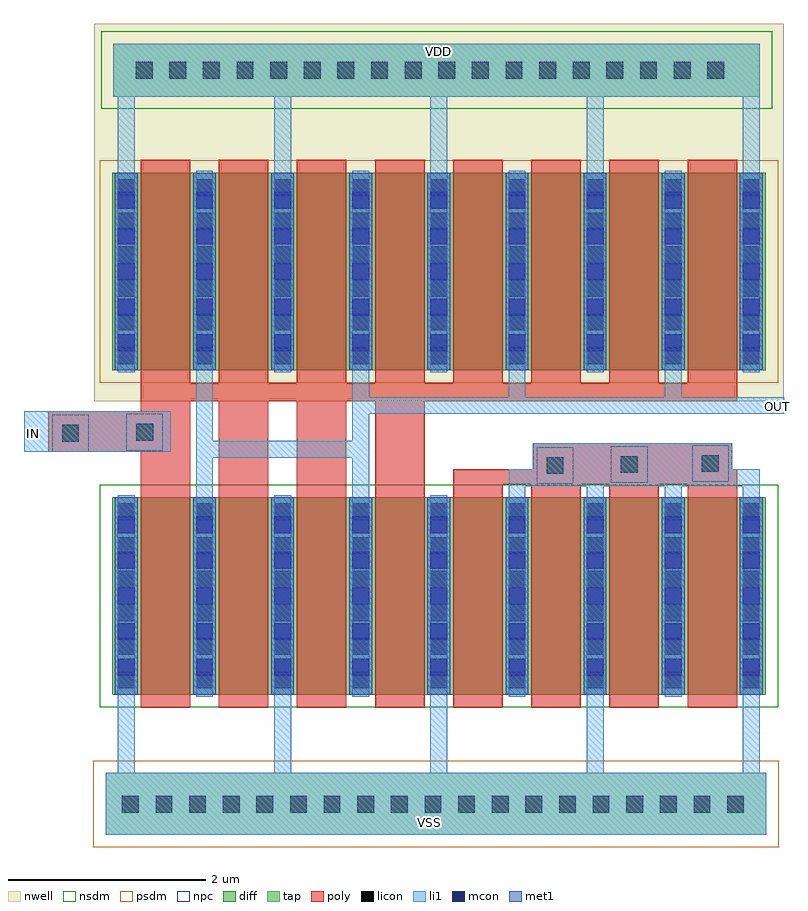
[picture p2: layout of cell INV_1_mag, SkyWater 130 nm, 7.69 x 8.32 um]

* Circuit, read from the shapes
.subckt INV_1_mag IN OUT VDD VSS
XM1 OUT IN VSS VSS sky130_fd_pr__nfet_01v8 w=2 l=0.5 m=4
XM2 VSS VSS VSS VSS sky130_fd_pr__nfet_01v8 w=2 l=0.5 m=4
XM3 OUT IN VDD VDD sky130_fd_pr__pfet_01v8 w=2 l=0.5 m=8
.ends

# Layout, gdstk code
from math import pi, radians
import gdstk
lib = gdstk.Library(unit=1e-6, precision=1e-09)
def R(c, l, rs):  # rectangles x0, y0, x1, y1
    for r in rs: c.add(gdstk.rectangle(r[:2], r[2:], *l))
def A(c, l, x, y, w, h, nx, ny, dx, dy):  # array of equal rectangles
    R(c, l, [(x+i*dx, y+j*dy, x+i*dx+w, y+j*dy+h) for i in range(nx) for j in range(ny)])
nwell = (64, 20)
diff = (65, 20)
tap = (65, 44)
poly = (66, 20)
licon = (66, 44)
li1 = (67, 20)
mcon = (67, 44)
met1 = (68, 20)
nsdm = (93, 44)
psdm = (94, 20)
npc = (95, 20)

sky130_fd_pr__nfet_01v8_ = lib.new_cell('sky130_fd_pr__nfet_01v8_TMD3M2')
R(sky130_fd_pr__nfet_01v8_, diff, [(-1.725,-1,1.725,1)])
A(sky130_fd_pr__nfet_01v8_, poly, -1.435, -1.13, 0.5, 2.26, 4, 1, 0.79, 0)
A(sky130_fd_pr__nfet_01v8_, licon, -1.665, -0.935, 0.17, 0.17, 5, 6, 0.79, 0.34)
A(sky130_fd_pr__nfet_01v8_, li1, -1.665, -1.02, 0.17, 2.04, 5, 1, 0.79, 0)
A(sky130_fd_pr__nfet_01v8_, mcon, -1.665, -0.805, 0.17, 0.17, 5, 5, 0.79, 0.36)
A(sky130_fd_pr__nfet_01v8_, met1, -1.695, -1, 0.23, 2, 5, 1, 0.79, 0)
R(sky130_fd_pr__nfet_01v8_, nsdm, [(-1.85,-1.125,1.85,1.125)])

sky130_fd_pr__pfet_01v8_ = lib.new_cell('sky130_fd_pr__pfet_01v8_2P97UG')
R(sky130_fd_pr__pfet_01v8_, nwell, [(-3.485,-1.31,3.485,1.31)])
R(sky130_fd_pr__pfet_01v8_, diff, [(-3.305,-1,3.305,1)])
A(sky130_fd_pr__pfet_01v8_, poly, -3.015, -1.13, 0.5, 2.26, 8, 1, 0.79, 0)
A(sky130_fd_pr__pfet_01v8_, licon, -3.245, -0.935, 0.17, 0.17, 9, 6, 0.79, 0.34)
A(sky130_fd_pr__pfet_01v8_, li1, -3.245, -1.02, 0.17, 2.04, 9, 1, 0.79, 0)
A(sky130_fd_pr__pfet_01v8_, mcon, -3.245, -0.805, 0.17, 0.17, 9, 5, 0.79, 0.36)
A(sky130_fd_pr__pfet_01v8_, met1, -3.275, -1, 0.23, 2, 9, 1, 0.79, 0)
R(sky130_fd_pr__pfet_01v8_, psdm, [(-3.43,-1.125,3.43,1.125)])

inv_1_mag = lib.new_cell('INV_1_mag')
R(inv_1_mag, nwell, [(0.47,0,6.5,0.18), (4.19,0.18,4.36,0.305), (5.77,0.18,5.94,0.31), (3.4,2.315,3.57,2.605), (4.98,2.32,5.15,2.605), (6.56,2.32,6.73,2.605), (1.82,2.33,1.99,2.605), (0,2.605,6.97,3.815)])
R(inv_1_mag, tap, [(0.115,-4.385,6.795,-3.76), (0.195,3.08,6.73,3.615)])
R(inv_1_mag, poly, [(0.47,-0.915,0.6,-0.865), (0.47,-0.865,0.97,-0.51), (1.26,-0.85,1.76,0), (2.05,-0.845,2.55,0), (2.84,-0.845,3.34,0), (3.63,-0.84,6.5,-0.69), (4.435,-0.69,6.45,-0.425), (-0.465,-0.51,0.97,-0.1), (0.47,-0.1,0.97,0), (0.47,0,6.5,0.18), (0.47,0.18,0.97,0.305), (1.26,0.18,1.76,0.32), (2.05,0.18,2.55,0.325), (2.84,0.18,3.34,0.325), (0.47,0.305,0.6,0.31)])
A(inv_1_mag, licon, 0.28, -4.16, 0.17, 0.17, 19, 1, 0.34, 0)
A(inv_1_mag, licon, 0.42, 3.26, 0.17, 0.17, 18, 1, 0.34, 0)
R(inv_1_mag, licon, [(4.575,-0.735,4.745,-0.565), (5.325,-0.725,5.495,-0.555), (6.145,-0.715,6.315,-0.545), (-0.325,-0.41,-0.155,-0.24), (0.425,-0.4,0.595,-0.23)])
A(inv_1_mag, li1, 0.24, -3.76, 0.17, 0.775, 5, 1, 1.58, 0)
R(inv_1_mag, li1, [(0.115,-4.385,6.795,-3.76), (6.56,-1.04,6.73,-0.86), (5.77,-1.03,5.94,-0.86), (1.03,-1.01,1.2,-0.57), (4.19,-1,4.36,-0.86), (2.61,-0.99,2.78,-0.57), (4.98,-0.955,5.15,-0.86), (4.19,-0.86,6.73,-0.69), (4.435,-0.69,6.45,-0.425), (1.03,-0.57,2.78,-0.4), (-0.71,-0.51,0.775,-0.1), (1.03,-0.4,1.2,0.355), (2.61,-0.4,2.78,-0.13), (2.61,-0.13,6.975,0.04), (2.61,0.04,2.78,0.32), (4.19,0.04,4.36,0.305), (5.77,0.04,5.94,0.31), (3.4,2.315,3.57,3.08), (4.98,2.32,5.15,3.08), (6.56,2.32,6.73,3.08), (0.24,2.325,0.41,3.08), (1.82,2.33,1.99,3.08), (0.195,3.08,6.73,3.615)])
R(inv_1_mag, nsdm, [(0.07,2.955,6.855,3.74)])
R(inv_1_mag, psdm, [(-0.01,-4.51,6.92,-3.635)])
R(inv_1_mag, npc, [(4.475,-0.835,4.845,-0.465), (5.225,-0.825,5.595,-0.455), (6.045,-0.815,6.415,-0.445), (-0.425,-0.51,-0.055,-0.14), (0.325,-0.5,0.695,-0.13)])
inv_1_mag.add(gdstk.Reference(sky130_fd_pr__nfet_01v8_, (5.065,-1.97), rotation=pi, x_reflection=True))
inv_1_mag.add(gdstk.Reference(sky130_fd_pr__nfet_01v8_, (1.905,-1.97)))
inv_1_mag.add(gdstk.Reference(sky130_fd_pr__pfet_01v8_, (3.485,1.31), rotation=pi, x_reflection=True))
inv_1_mag.add(gdstk.Label('IN', (-0.615,-0.33), layer=67, texttype=5))
inv_1_mag.add(gdstk.Label('OUT', (6.905,-0.055), layer=67, texttype=5))
inv_1_mag.add(gdstk.Label('VDD', (3.48,3.54), layer=67, texttype=5))
inv_1_mag.add(gdstk.Label('VSS', (3.395,-4.265), layer=67, texttype=5))

lib.write_gds('INV_1_mag.gds')
